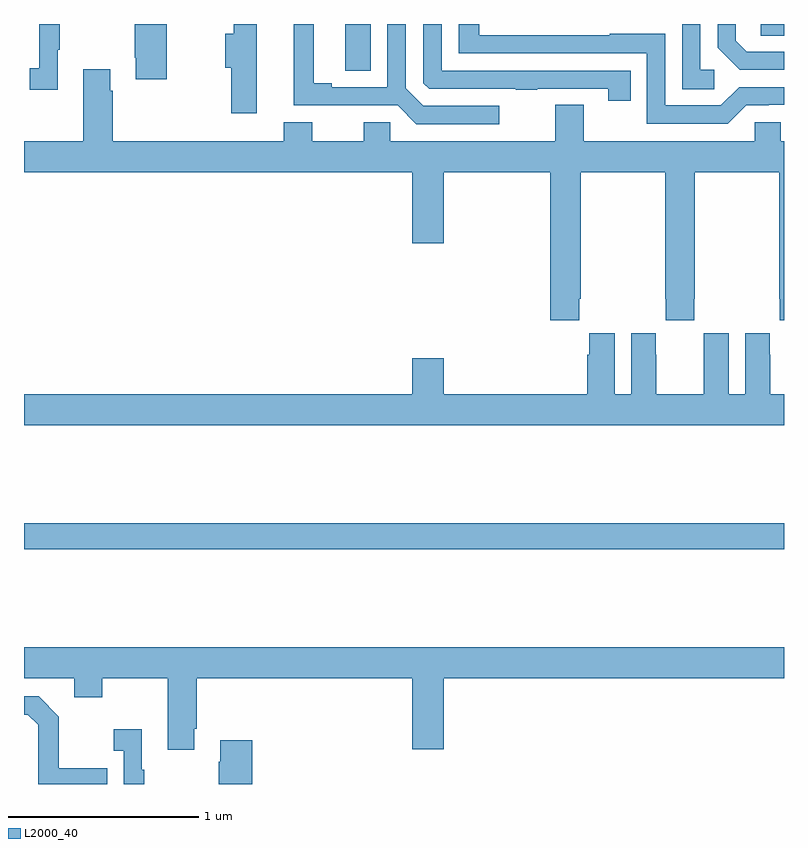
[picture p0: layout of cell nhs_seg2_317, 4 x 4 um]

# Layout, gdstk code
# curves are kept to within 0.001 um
import gdstk
lib = gdstk.Library(unit=1e-6, precision=1e-09)
def R(c, l, rs):  # rectangles x0, y0, x1, y1
    for r in rs: c.add(gdstk.rectangle(r[:2], r[2:], *l))
def P(c, l, *ps):  # polygons
    for p in ps: c.add(gdstk.Polygon(p, *l))
L2000_40 = (2000, 40)

nhs_seg2_317 = lib.new_cell('nhs_seg2_317')
R(nhs_seg2_317, L2000_40, [(127,595.036,131,595.172), (128.69,597.553,128.824,597.8), (130.878,597.739,131,597.8)])
P(nhs_seg2_317, L2000_40, [(129.502,597.369),(129.102,597.369),(129.009,597.462),(129.009,597.8),(128.913,597.8),(128.913,597.468),(128.62,597.468),(128.62,597.488),(128.524,597.488),(128.524,597.8),(128.42,597.8),(128.42,597.372),(128.966,597.372),(129.065,597.273),(129.502,597.273)],
  [(130.633,597.558),(130.56,597.558),(130.56,597.8),(130.464,597.8),(130.464,597.457),(130.633,597.457)],
  [(127.752,597.8),(127.582,597.8),(127.582,597.622),(127.589,597.622),(127.589,597.51),(127.752,597.51)],
  [(130.8,597.372),(130.92,597.372),(130.92,597.375),(131,597.375),(131,597.468),(130.764,597.468),(130.668,597.372),(130.374,597.372),(130.374,597.748),(130.083,597.748),(130.083,597.741),(129.397,597.742),(129.397,597.8),(129.288,597.8),(129.288,597.645),(130.278,597.645),(130.278,597.276),(130.704,597.276)],
  [(128.224,597.8),(128.105,597.8),(128.105,597.749),(128.059,597.749),(128.059,597.571),(128.09,597.571),(128.09,597.33),(128.224,597.33)],
  [(130.193,597.555),(129.198,597.555),(129.198,597.8),(129.102,597.8),(129.102,597.489),(129.132,597.459),(129.589,597.459),(129.589,597.454),(129.701,597.454),(129.701,597.459),(130.075,597.459),(130.075,597.396),(130.193,597.396)],
  [(131,597.654),(130.804,597.654),(130.747,597.711),(130.747,597.8),(130.65,597.8),(130.65,597.674),(130.766,597.558),(131,597.558)],
  [(127.177,597.665),(127.189,597.665),(127.189,597.8),(127.08,597.8),(127.08,597.566),(127.029,597.566),(127.029,597.453),(127.177,597.453)],
  [(129.923,596.353),(129.93,596.353),(129.93,597.02),(130.375,597.02),(130.375,596.353),(130.377,596.353),(130.377,596.241),(130.527,596.241),(130.527,596.353),(130.53,596.353),(130.53,597.02),(130.975,597.02),(130.975,596.353),(130.977,596.353),(130.977,596.241),(131,596.241),(131,597.184),(130.983,597.184),(130.983,597.282),(130.845,597.282),(130.845,597.184),(129.945,597.184),(129.945,597.374),(129.797,597.374),(129.797,597.184),(128.928,597.184),(128.928,597.282),(128.789,597.282),(128.789,597.184),(128.518,597.184),(128.518,597.283),(128.366,597.283),(128.366,597.184),(127.466,597.184),(127.466,597.449),(127.453,597.449),(127.453,597.562),(127.313,597.562),(127.313,597.184),(127,597.184),(127,597.02),(129.044,597.02),(129.044,596.646),(129.208,596.646),(129.208,597.02),(129.77,597.02),(129.77,596.241),(129.923,596.241)],
  [(131,595.852),(130.927,595.852),(130.927,596.06),(130.926,596.06),(130.926,596.173),(130.796,596.173),(130.796,595.852),(130.708,595.852),(130.708,596.173),(130.578,596.173),(130.578,596.06),(130.577,596.06),(130.577,595.852),(130.327,595.852),(130.327,596.06),(130.326,596.06),(130.326,596.173),(130.196,596.173),(130.196,595.852),(130.108,595.852),(130.108,596.173),(129.974,596.173),(129.974,596.06),(129.965,596.06),(129.965,595.852),(129.208,595.852),(129.208,596.041),(129.044,596.041),(129.044,595.852),(127,595.852),(127,595.688),(131,595.688)],
  [(127.897,594.091),(127.91,594.091),(127.91,594.356),(129.044,594.356),(129.044,593.982),(129.208,593.982),(129.208,594.356),(131,594.356),(131,594.52),(127,594.52),(127,594.356),(127.265,594.356),(127.265,594.257),(127.413,594.257),(127.413,594.356),(127.757,594.356),(127.757,593.979),(127.897,593.979)],
  [(127.439,593.883),(127.183,593.883),(127.183,594.155),(127.077,594.261),(127,594.261),(127,594.165),(127.02,594.165),(127.074,594.111),(127.074,593.8),(127.439,593.8)],
  [(127.633,593.875),(127.621,593.875),(127.621,594.088),(127.473,594.088),(127.473,593.975),(127.524,593.975),(127.524,593.8),(127.633,593.8)],
  [(128.201,594.031),(128.033,594.031),(128.033,593.918),(128.026,593.918),(128.026,593.8),(128.201,593.8)])

lib.write_gds('nhs_seg2_317.gds')
